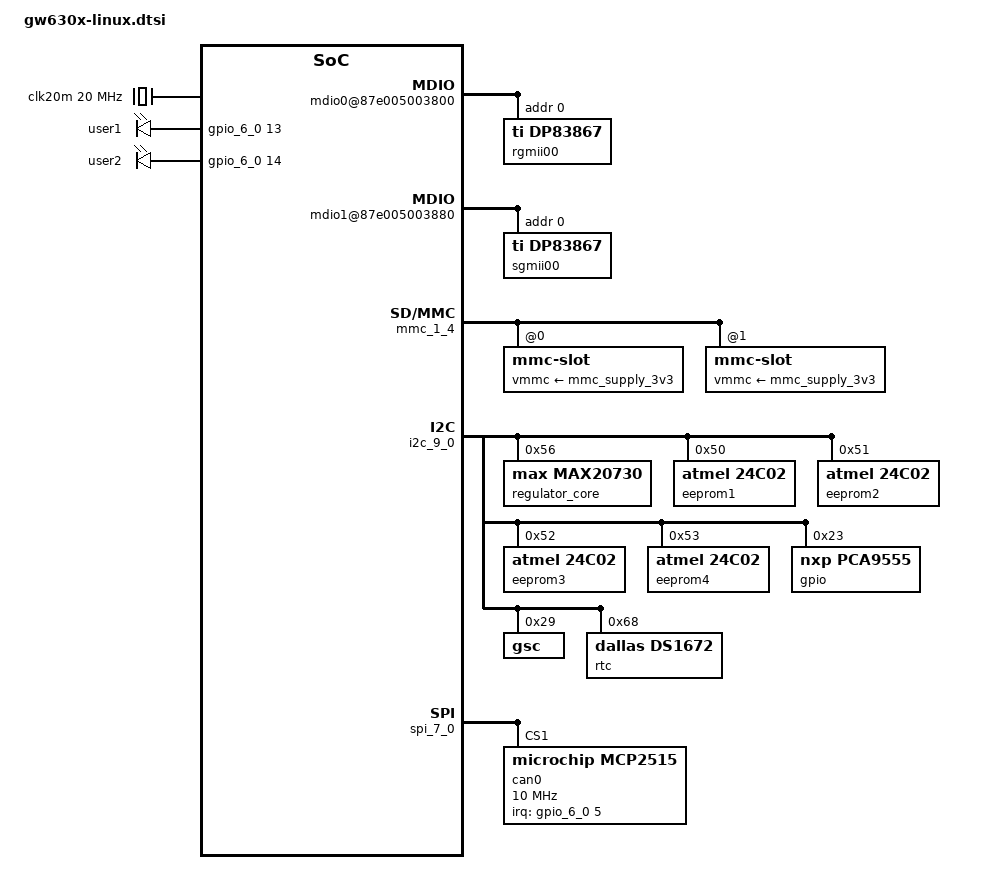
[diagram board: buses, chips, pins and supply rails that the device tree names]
/*
 * Copyright 2017 Gateworks Corporation
 *
 * This file is dual-licensed: you can use it either under the terms
 * of the GPL or the X11 license, at your option. Note that this dual
 * licensing only applies to this file, and not this project as a
 * whole.
 *
 *  a) This library is free software; you can redistribute it and/or
 *     modify it under the terms of the GNU General Public License as
 *     published by the Free Software Foundation; either version 2 of the
 *     License, or (at your option) any later version.
 *
 *     This library is distributed in the hope that it will be useful,
 *     but WITHOUT ANY WARRANTY; without even the implied warranty of
 *     MERCHANTABILITY or FITNESS FOR A PARTICULAR PURPOSE.  See the
 *     GNU General Public License for more details.
 *
 *     You should have received a copy of the GNU General Public
 *     License along with this library; if not, write to the Free
 *     Software Foundation, Inc., 51 Franklin St, Fifth Floor, Boston,
 *     MA 02110-1301 USA
 *
 * Or, alternatively,
 *
 *  b) Permission is hereby granted, free of charge, to any person
 *     obtaining a copy of this software and associated documentation
 *     files (the "Software"), to deal in the Software without
 *     restriction, including without limitation the rights to use,
 *     copy, modify, merge, publish, distribute, sublicense, and/or
 *     sell copies of the Software, and to permit persons to whom the
 *     Software is furnished to do so, subject to the following
 *     conditions:
 *
 *     The above copyright notice and this permission notice shall be
 *     included in all copies or substantial portions of the Software.
 *
 *     THE SOFTWARE IS PROVIDED "AS IS", WITHOUT WARRANTY OF ANY KIND,
 *     EXPRESS OR IMPLIED, INCLUDING BUT NOT LIMITED TO THE WARRANTIES
 *     OF MERCHANTABILITY, FITNESS FOR A PARTICULAR PURPOSE AND
 *     NONINFRINGEMENT. IN NO EVENT SHALL THE AUTHORS OR COPYRIGHT
 *     HOLDERS BE LIABLE FOR ANY CLAIM, DAMAGES OR OTHER LIABILITY,
 *     WHETHER IN AN ACTION OF CONTRACT, TORT OR OTHERWISE, ARISING
 *     FROM, OUT OF OR IN CONNECTION WITH THE SOFTWARE OR THE USE OR
 *     OTHER DEALINGS IN THE SOFTWARE.
 */

/include/ "cn81xx-linux.dtsi"

/ {
	clocks {
		compatible = "simple-bus";
		#address-cells = <1>;
		#size-cells = <0>;

		clk20m: clk@0 {
			compatible = "fixed-clock";
			reg = <0>;
			#clock-cells = <0>;
			clock-frequency = <20000000>;
		};
	};

	leds {
		compatible = "gpio-leds";

		/* Bi-Color LED */
		led0: user1 {
			label = "user1"; /* GREEN */
			gpios = <&gpio_6_0 13 0>;
			default-state = "on";
			linux,default-trigger = "heartbeat";
		};

		led1: user2 {
			label = "user2"; /* RED */
			gpios = <&gpio_6_0 14 0>;
			default-state = "off";
		};
	};
};

&mrml_bridge {
	/* CN8xxx MDIO */
	mdio-nexus@1,3 {
		/* MDIO0 */
		mdio0@87e005003800 {
			rgmii00: rgmii00 {
				reg = <0>; /* phy address */
				compatible = "ti,dp83867", "ethernet-phy-ieee802.3-c22";
				phy-mode = "rgmii-id";
				ti,rx-internal-delay = <0x7>; /* 2ns */
				ti,tx-internal-delay = <0x7>; /* 20ps */
				ti,fifo-depth = <3>; /* 0=3 1=4 2=6 3=8 */
			};
		};
		/* MDIO1 */
		mdio1@87e005003880 {
			sgmii00: sgmii@0 {
				qlm-mode = "0x000,sgmii";
				reg = <0>; /* phy address */
				compatible = "ti,dp83867", "ethernet-phy-ieee802.3-c22";
				ti,fifo-depth = <3>; /* 0=3 1=4 2=6 3=8 */
			};
		};
	};

	rgx0 {
		rgmii00 {
			reg = <0>;
			local-mac-address = [00 00 00 00 00 00];
			phy-handle = <&rgmii00>;
		};
	};

	/* DLM1 => SGMII (dp83867) */
	bgx0 {
		/* BGX0.0 */
		sgmii@0 {
			reg = <0>;
			qlm-mode = "0x000,sgmii";
			local-mac-address = [00 00 00 00 00 00];
			phy-handle = <&sgmii00>;
		};
	};
};

&mmc_1_4 {
	/* CMD0 placeholder */
	mmc-slot@0 {
		compatible = "mmc-slot";
		reg = <0>;
		vmmc-supply = <&mmc_supply_3v3>;
		max-frequency = <26000000>;
		/* 1.8v is not supported */
		no-1-8-v;
		/* No write-protect switch is present */
		disable-wp;
		/* no card detection available; polling must be used. */
		broken-cd;
		/* speed up device probing */
		no-sdio;
	};

	/* CMD1 placeholder */
	mmc-slot@1 {
		compatible = "mmc-slot";
		reg = <1>;
		vmmc-supply = <&mmc_supply_3v3>;
		max-frequency = <26000000>;
		/* 1.8v is not supported */
		no-1-8-v;
		/* No write-protect switch is present */
		disable-wp;
		/* no card detection available; polling must be used. */
		broken-cd;
		/* speed up device probing */
		no-sdio;
	};
};

/* TWSI0 */
&i2c_9_0 {
	/* regulator */
	regulator_core: max20730-i2c@56 {
		compatible = "max,max20730";
		reg = <0x56>;
	};

	eeprom1: eeprom@50 {
		compatible = "atmel,24c02";
		reg = <0x50>;
		pagesize = <16>;
	};

	eeprom2: eeprom@51 {
		compatible = "atmel,24c02";
		reg = <0x51>;
		pagesize = <16>;
	};

	eeprom3: eeprom@52 {
		compatible = "atmel,24c02";
		reg = <0x52>;
		pagesize = <16>;
	};

	eeprom4: eeprom@53 {
		compatible = "atmel,24c02";
		reg = <0x53>;
		pagesize = <16>;
	};

	gpio: pca9555@23 {
		compatible = "nxp,pca9555";
		reg = <0x23>;
		gpio-controller;
		#gpio-cells = <2>;
	};

	gsc: gsc@29 {
		compatible = "gsc";
		reg = <0x29>;
	};

	rtc: ds1672@68 {
		compatible = "dallas,ds1672";
		reg = <0x68>;
	};
};

&spi_7_0 {
	can0: can@1 {
		compatible = "microchip,mcp2515";
		reg = <1>;
		clocks = <&clk20m>;
		interrupt-parent = <&gpio_6_0>;
		interrupts = <5 0x2>;
		spi-max-frequency = <10000000>;
	};
};
